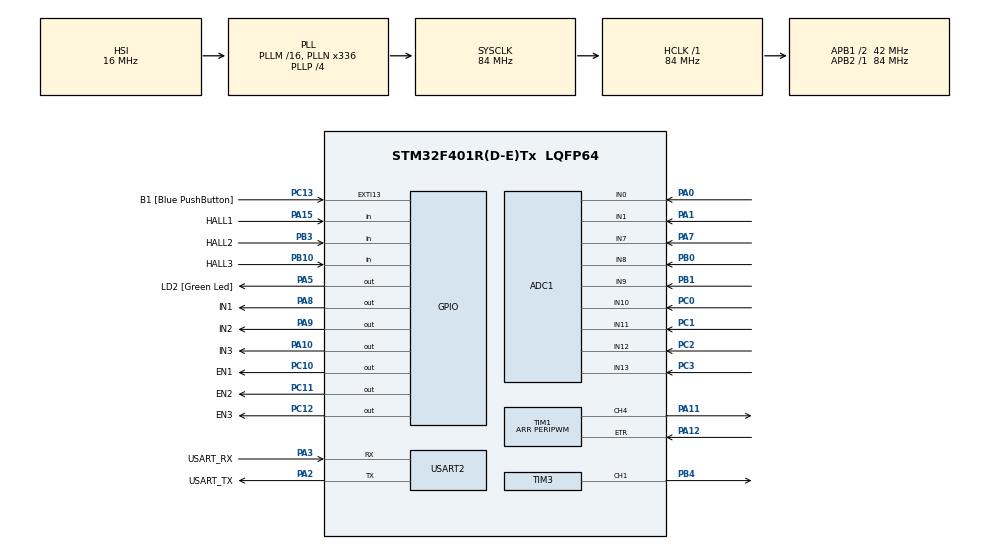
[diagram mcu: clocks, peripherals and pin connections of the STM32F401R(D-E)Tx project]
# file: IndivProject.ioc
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ADC1.Channel-0\#ChannelRegularConversion=ADC_CHANNEL_9
ADC1.DMAContinuousRequests=ENABLE
ADC1.DiscontinuousConvMode=DISABLE
ADC1.EOCSelection=ADC_EOC_SEQ_CONV
ADC1.ExternalTrigConv=ADC_EXTERNALTRIGCONV_T1_CC3
ADC1.ExternalTrigConvEdge=ADC_EXTERNALTRIGCONVEDGE_RISINGFALLING
ADC1.NbrOfConversionFlag=1
ADC1.Rank-0\#ChannelRegularConversion=1
ADC1.SamplingTime-0\#ChannelRegularConversion=ADC_SAMPLETIME_3CYCLES
ADC1.ScanConvMode=ENABLE
ADC1.master=1
Dma.ADC1.0.Direction=DMA_PERIPH_TO_MEMORY
Dma.ADC1.0.FIFOMode=DMA_FIFOMODE_DISABLE
Dma.ADC1.0.Instance=DMA2_Stream0
Dma.ADC1.0.MemDataAlignment=DMA_MDATAALIGN_HALFWORD
Dma.ADC1.0.MemInc=DMA_MINC_ENABLE
Dma.ADC1.0.Mode=DMA_CIRCULAR
Dma.ADC1.0.PeriphDataAlignment=DMA_PDATAALIGN_HALFWORD
Dma.ADC1.0.PeriphInc=DMA_PINC_DISABLE
Dma.ADC1.0.Priority=DMA_PRIORITY_LOW
Dma.Request0=ADC1
Mcu.Family=STM32F4
Mcu.Name=STM32F401R(D-E)Tx
Mcu.Package=LQFP64
Mcu.UserConstants=PERIPWM,2100
NVIC.DMA2_Stream0_IRQn=true\:0\:0\:false\:false\:true\:false\:true\:true
NVIC.PriorityGroup=NVIC_PRIORITYGROUP_4
PA0-WKUP.Signal=ADCx_IN0
PA1.Signal=ADCx_IN1
PA10.GPIO_Label=IN3
PA10.Signal=GPIO_Output
PA11.Signal=S_TIM1_CH4
PA12.Signal=S_TIM1_ETR
PA13.GPIO_Label=TMS
PA13.Signal=SYS_JTMS-SWDIO
PA14.GPIO_Label=TCK
PA14.Signal=SYS_JTCK-SWCLK
PA15.GPIO_Label=HALL1
PA15.Signal=GPIO_Input
PA2.GPIO_Label=USART_TX
PA2.GPIO_Mode=GPIO_MODE_AF_PP
PA2.GPIO_PuPd=GPIO_NOPULL
PA2.GPIO_Speed=GPIO_SPEED_FREQ_LOW
PA2.Mode=Asynchronous
PA2.Signal=USART2_TX
PA3.GPIO_Label=USART_RX
PA3.GPIO_Mode=GPIO_MODE_AF_PP
PA3.GPIO_PuPd=GPIO_NOPULL
PA3.GPIO_Speed=GPIO_SPEED_FREQ_LOW
PA3.Mode=Asynchronous
PA3.Signal=USART2_RX
PA5.GPIO_Label=LD2 [Green Led]
PA5.GPIO_Mode=GPIO_MODE_OUTPUT_PP
PA5.GPIO_PuPd=GPIO_NOPULL
PA5.GPIO_Speed=GPIO_SPEED_FREQ_LOW
PA5.Signal=GPIO_Output
PA7.Signal=ADCx_IN7
PA8.GPIO_Label=IN1
PA8.Signal=GPIO_Output
PA9.GPIO_Label=IN2
PA9.Signal=GPIO_Output
PB0.Signal=ADCx_IN8
PB1.Signal=ADCx_IN9
PB10.GPIO_Label=HALL3
PB10.Signal=GPIO_Input
PB13.Signal=TIM1_CH1N
PB14.Signal=TIM1_CH2N
PB3.GPIO_Label=HALL2
PB3.Signal=GPIO_Input
PB4.Signal=S_TIM3_CH1
PC0.Signal=ADCx_IN10
PC1.Signal=ADCx_IN11
PC10.GPIO_Label=EN1
PC10.Signal=GPIO_Output
PC11.GPIO_Label=EN2
PC11.Signal=GPIO_Output
PC12.GPIO_Label=EN3
PC12.Signal=GPIO_Output
PC13-ANTI_TAMP.GPIO_Label=B1 [Blue PushButton]
PC13-ANTI_TAMP.GPIO_ModeDefaultEXTI=GPIO_MODE_IT_FALLING
PC13-ANTI_TAMP.GPIO_PuPd=GPIO_NOPULL
PC13-ANTI_TAMP.Signal=GPXTI13
PC14-OSC32_IN.Mode=LSE-External-Oscillator
PC14-OSC32_IN.Signal=RCC_OSC32_IN
PC15-OSC32_OUT.Mode=LSE-External-Oscillator
PC15-OSC32_OUT.Signal=RCC_OSC32_OUT
PC2.Signal=ADCx_IN12
PC3.Signal=ADCx_IN13
PH0\ -\ OSC_IN.Mode=HSE-External-Clock-Source
PH0\ -\ OSC_IN.Signal=RCC_OSC_IN
PH1\ -\ OSC_OUT.Mode=HSE-External-Clock-Source
PH1\ -\ OSC_OUT.Signal=RCC_OSC_OUT
ProjectManager.HeapSize=0x200
ProjectManager.StackSize=0x400
ProjectManager.TargetToolchain=CMake
RCC.48MHZClocksFreq_Value=48000000
RCC.AHBFreq_Value=84000000
RCC.APB1CLKDivider=RCC_HCLK_DIV2
RCC.APB1Freq_Value=42000000
RCC.APB1TimFreq_Value=84000000
RCC.APB2Freq_Value=84000000
RCC.APB2TimFreq_Value=84000000
RCC.CortexFreq_Value=84000000
RCC.HCLKFreq_Value=84000000
RCC.HSE_VALUE=8000000
RCC.HSI_VALUE=16000000
RCC.PLLN=336
RCC.PLLP=RCC_PLLP_DIV4
RCC.PLLQ=7
RCC.SYSCLKFreq_VALUE=84000000
RCC.SYSCLKSource=RCC_SYSCLKSOURCE_PLLCLK
RCC.VCOOutputFreq_Value=336000000
SH.ADCx_IN0.0=ADC1_IN0,IN0
SH.ADCx_IN1.0=ADC1_IN1,IN1
SH.ADCx_IN10.0=ADC1_IN10,IN10
SH.ADCx_IN11.0=ADC1_IN11,IN11
SH.ADCx_IN12.0=ADC1_IN12,IN12
SH.ADCx_IN13.0=ADC1_IN13,IN13
SH.ADCx_IN7.0=ADC1_IN7,IN7
SH.ADCx_IN8.0=ADC1_IN8,IN8
SH.ADCx_IN9.0=ADC1_IN9,IN9
SH.S_TIM1_CH4.0=TIM1_CH4,PWM Generation4 CH4
SH.S_TIM1_ETR.0=TIM1_ETR,ETR-as-clearing-source
SH.S_TIM3_CH1.0=TIM3_CH1,PWM Generation1 CH1
TIM1.Channel-Output\ Compare3\ No\ Output=TIM_CHANNEL_3
TIM1.Channel-PWM\ Generation4\ CH4=TIM_CHANNEL_4
TIM1.ClearChannel4=TIM_CHANNEL_4
TIM1.CounterMode=TIM_COUNTERMODE_CENTERALIGNED1
TIM1.OCMode_3=TIM_OCMODE_TOGGLE
TIM1.Period=PERIPWM
TIM3.Channel-PWM\ Generation1\ CH1=TIM_CHANNEL_1
TIM3.CounterMode=TIM_COUNTERMODE_CENTERALIGNED1
TIM3.Period=PERIPWM
USART2.VirtualMode=VM_ASYNC
VP_TIM1_VS_ClockSourceINT.Mode=Internal
VP_TIM1_VS_no_output3.Mode=Output Compare3 No Output
VP_TIM3_VS_ClockSourceINT.Mode=Internal
board=NUCLEO-F401RE

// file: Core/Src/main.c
/* USER CODE BEGIN Header */
/**
  ******************************************************************************
  * @file           : main.c
  * @brief          : Main program body
  ******************************************************************************
  * @attention
  *
  * Copyright (c) 2026 STMicroelectronics.
  * All rights reserved.
  *
  * This software is licensed under terms that can be found in the LICENSE file
  * in the root directory of this software component.
  * If no LICENSE file comes with this software, it is provided AS-IS.
  *
  ******************************************************************************
  */
/* USER CODE END Header */
#include "main.h"

ADC_HandleTypeDef hadc1;
DMA_HandleTypeDef hdma_adc1;

TIM_HandleTypeDef htim1;
TIM_HandleTypeDef htim3;

UART_HandleTypeDef huart2;

void SystemClock_Config(void);
static void MX_GPIO_Init(void);
static void MX_DMA_Init(void);
static void MX_USART2_UART_Init(void);
static void MX_ADC1_Init(void);
static void MX_TIM1_Init(void);
static void MX_TIM3_Init(void);

/* USER CODE BEGIN 0 */
uint16_t resultats[1];
static const uint8_t enables[8] = {0,5,3,6,6,3,5,0};
static const uint8_t input[8] = {0,1,2,2,4,1,4,0};
/* USER CODE END 0 */

int main(void)
{

  /* MCU Configuration--------------------------------------------------------*/

  /* Reset of all peripherals, Initializes the Flash interface and the Systick. */

  HAL_Init();

  /* Configure the system clock */
  SystemClock_Config();

  /* Initialize all configured peripherals */
  MX_GPIO_Init();
  MX_DMA_Init();
  MX_USART2_UART_Init();
  MX_ADC1_Init();
  MX_TIM1_Init();
  MX_TIM3_Init();
  /* USER CODE BEGIN 2 */
  HAL_TIM_PWM_Start(&htim3, TIM_CHANNEL_1);
  HAL_TIM_PWM_Start(&htim1, TIM_CHANNEL_4);
  HAL_TIM_OC_Start(&htim1, TIM_CHANNEL_3);
  HAL_ADC_Start_DMA(&hadc1, (uint32_t*)resultats, 1);
  /* USER CODE END 2 */

  /* Infinite loop */
  while (1)
  {

  }
}

void SystemClock_Config(void)
{
  RCC_OscInitTypeDef RCC_OscInitStruct = {0};
  RCC_ClkInitTypeDef RCC_ClkInitStruct = {0};

  /** Configure the main internal regulator output voltage
  */
  __HAL_RCC_PWR_CLK_ENABLE();
  __HAL_PWR_VOLTAGESCALING_CONFIG(PWR_REGULATOR_VOLTAGE_SCALE2);

  /** Initializes the RCC Oscillators according to the specified parameters
  * in the RCC_OscInitTypeDef structure.
  */
  RCC_OscInitStruct.OscillatorType = RCC_OSCILLATORTYPE_HSI;
  RCC_OscInitStruct.HSIState = RCC_HSI_ON;
  RCC_OscInitStruct.HSICalibrationValue = RCC_HSICALIBRATION_DEFAULT;
  RCC_OscInitStruct.PLL.PLLState = RCC_PLL_ON;
  RCC_OscInitStruct.PLL.PLLSource = RCC_PLLSOURCE_HSI;
  RCC_OscInitStruct.PLL.PLLM = 16;
  RCC_OscInitStruct.PLL.PLLN = 336;
  RCC_OscInitStruct.PLL.PLLP = RCC_PLLP_DIV4;
  RCC_OscInitStruct.PLL.PLLQ = 7;
  if (HAL_RCC_OscConfig(&RCC_OscInitStruct) != HAL_OK)
  {
    Error_Handler();
  }

  /** Initializes the CPU, AHB and APB buses clocks
  */
  RCC_ClkInitStruct.ClockType = RCC_CLOCKTYPE_HCLK|RCC_CLOCKTYPE_SYSCLK
                              |RCC_CLOCKTYPE_PCLK1|RCC_CLOCKTYPE_PCLK2;
  RCC_ClkInitStruct.SYSCLKSource = RCC_SYSCLKSOURCE_PLLCLK;
  RCC_ClkInitStruct.AHBCLKDivider = RCC_SYSCLK_DIV1;
  RCC_ClkInitStruct.APB1CLKDivider = RCC_HCLK_DIV2;
  RCC_ClkInitStruct.APB2CLKDivider = RCC_HCLK_DIV1;

  if (HAL_RCC_ClockConfig(&RCC_ClkInitStruct, FLASH_LATENCY_2) != HAL_OK)
  {
    Error_Handler();
  }
}

static void MX_ADC1_Init(void)
{

  ADC_ChannelConfTypeDef sConfig = {0};

  /** Configure the global features of the ADC (Clock, Resolution, Data Alignment and number of conversion)
  */
  hadc1.Instance = ADC1;
  hadc1.Init.ClockPrescaler = ADC_CLOCK_SYNC_PCLK_DIV4;
  hadc1.Init.Resolution = ADC_RESOLUTION_12B;
  hadc1.Init.ScanConvMode = ENABLE;
  hadc1.Init.ContinuousConvMode = DISABLE;
  hadc1.Init.DiscontinuousConvMode = DISABLE;
  hadc1.Init.ExternalTrigConvEdge = ADC_EXTERNALTRIGCONVEDGE_RISINGFALLING;
  hadc1.Init.ExternalTrigConv = ADC_EXTERNALTRIGCONV_T1_CC3;
  hadc1.Init.DataAlign = ADC_DATAALIGN_RIGHT;
  hadc1.Init.NbrOfConversion = 1;
  hadc1.Init.DMAContinuousRequests = ENABLE;
  hadc1.Init.EOCSelection = ADC_EOC_SEQ_CONV;
  if (HAL_ADC_Init(&hadc1) != HAL_OK)
  {
    Error_Handler();
  }

  /** Configure for the selected ADC regular channel its corresponding rank in the sequencer and its sample time.
  */
  sConfig.Channel = ADC_CHANNEL_9;
  sConfig.Rank = 1;
  sConfig.SamplingTime = ADC_SAMPLETIME_3CYCLES;
  if (HAL_ADC_ConfigChannel(&hadc1, &sConfig) != HAL_OK)
  {
    Error_Handler();
  }

}

static void MX_TIM1_Init(void)
{

  TIM_ClockConfigTypeDef sClockSourceConfig = {0};
  TIM_MasterConfigTypeDef sMasterConfig = {0};
  TIM_OC_InitTypeDef sConfigOC = {0};
  TIM_ClearInputConfigTypeDef sClearInputConfig = {0};
  TIM_BreakDeadTimeConfigTypeDef sBreakDeadTimeConfig = {0};

  htim1.Instance = TIM1;
  htim1.Init.Prescaler = 0;
  htim1.Init.CounterMode = TIM_COUNTERMODE_CENTERALIGNED1;
  htim1.Init.Period = PERIPWM;
  htim1.Init.ClockDivision = TIM_CLOCKDIVISION_DIV1;
  htim1.Init.RepetitionCounter = 0;
  htim1.Init.AutoReloadPreload = TIM_AUTORELOAD_PRELOAD_DISABLE;
  if (HAL_TIM_Base_Init(&htim1) != HAL_OK)
  {
    Error_Handler();
  }
  sClockSourceConfig.ClockSource = TIM_CLOCKSOURCE_INTERNAL;
  if (HAL_TIM_ConfigClockSource(&htim1, &sClockSourceConfig) != HAL_OK)
  {
    Error_Handler();
  }
  if (HAL_TIM_OC_Init(&htim1) != HAL_OK)
  {
    Error_Handler();
  }
  if (HAL_TIM_PWM_Init(&htim1) != HAL_OK)
  {
    Error_Handler();
  }
  sMasterConfig.MasterOutputTrigger = TIM_TRGO_RESET;
  sMasterConfig.MasterSlaveMode = TIM_MASTERSLAVEMODE_DISABLE;
  if (HAL_TIMEx_MasterConfigSynchronization(&htim1, &sMasterConfig) != HAL_OK)
  {
    Error_Handler();
  }
  sConfigOC.OCMode = TIM_OCMODE_TOGGLE;
  sConfigOC.Pulse = 0;
  sConfigOC.OCPolarity = TIM_OCPOLARITY_HIGH;
  sConfigOC.OCNPolarity = TIM_OCNPOLARITY_HIGH;
  sConfigOC.OCFastMode = TIM_OCFAST_DISABLE;
  sConfigOC.OCIdleState = TIM_OCIDLESTATE_RESET;
  sConfigOC.OCNIdleState = TIM_OCNIDLESTATE_RESET;
  if (HAL_TIM_OC_ConfigChannel(&htim1, &sConfigOC, TIM_CHANNEL_3) != HAL_OK)
  {
    Error_Handler();
  }
  sConfigOC.OCMode = TIM_OCMODE_PWM1;
  if (HAL_TIM_PWM_ConfigChannel(&htim1, &sConfigOC, TIM_CHANNEL_4) != HAL_OK)
  {
    Error_Handler();
  }
  sClearInputConfig.ClearInputState = ENABLE;
  sClearInputConfig.ClearInputSource = TIM_CLEARINPUTSOURCE_ETR;
  sClearInputConfig.ClearInputPolarity = TIM_CLEARINPUTPOLARITY_NONINVERTED;
  sClearInputConfig.ClearInputPrescaler = TIM_CLEARINPUTPRESCALER_DIV1;
  sClearInputConfig.ClearInputFilter = 0;
  if (HAL_TIM_ConfigOCrefClear(&htim1, &sClearInputConfig, TIM_CHANNEL_4) != HAL_OK)
  {
    Error_Handler();
  }
  sBreakDeadTimeConfig.OffStateRunMode = TIM_OSSR_DISABLE;
  sBreakDeadTimeConfig.OffStateIDLEMode = TIM_OSSI_DISABLE;
  sBreakDeadTimeConfig.LockLevel = TIM_LOCKLEVEL_OFF;
  sBreakDeadTimeConfig.DeadTime = 0;
  sBreakDeadTimeConfig.BreakState = TIM_BREAK_DISABLE;
  sBreakDeadTimeConfig.BreakPolarity = TIM_BREAKPOLARITY_HIGH;
  sBreakDeadTimeConfig.AutomaticOutput = TIM_AUTOMATICOUTPUT_DISABLE;
  if (HAL_TIMEx_ConfigBreakDeadTime(&htim1, &sBreakDeadTimeConfig) != HAL_OK)
  {
    Error_Handler();
  }
  HAL_TIM_MspPostInit(&htim1);

}

static void MX_TIM3_Init(void)
{

  TIM_ClockConfigTypeDef sClockSourceConfig = {0};
  TIM_MasterConfigTypeDef sMasterConfig = {0};
  TIM_OC_InitTypeDef sConfigOC = {0};

  htim3.Instance = TIM3;
  htim3.Init.Prescaler = 0;
  htim3.Init.CounterMode = TIM_COUNTERMODE_CENTERALIGNED1;
  htim3.Init.Period = PERIPWM;
  htim3.Init.ClockDivision = TIM_CLOCKDIVISION_DIV1;
  htim3.Init.AutoReloadPreload = TIM_AUTORELOAD_PRELOAD_DISABLE;
  if (HAL_TIM_Base_Init(&htim3) != HAL_OK)
  {
    Error_Handler();
  }
  sClockSourceConfig.ClockSource = TIM_CLOCKSOURCE_INTERNAL;
  if (HAL_TIM_ConfigClockSource(&htim3, &sClockSourceConfig) != HAL_OK)
  {
    Error_Handler();
  }
  if (HAL_TIM_PWM_Init(&htim3) != HAL_OK)
  {
    Error_Handler();
  }
  sMasterConfig.MasterOutputTrigger = TIM_TRGO_RESET;
  sMasterConfig.MasterSlaveMode = TIM_MASTERSLAVEMODE_DISABLE;
  if (HAL_TIMEx_MasterConfigSynchronization(&htim3, &sMasterConfig) != HAL_OK)
  {
    Error_Handler();
  }
  sConfigOC.OCMode = TIM_OCMODE_PWM1;
  sConfigOC.Pulse = 0;
  sConfigOC.OCPolarity = TIM_OCPOLARITY_HIGH;
  sConfigOC.OCFastMode = TIM_OCFAST_DISABLE;
  if (HAL_TIM_PWM_ConfigChannel(&htim3, &sConfigOC, TIM_CHANNEL_1) != HAL_OK)
  {
    Error_Handler();
  }
  HAL_TIM_MspPostInit(&htim3);

}

static void MX_USART2_UART_Init(void)
{

  huart2.Instance = USART2;
  huart2.Init.BaudRate = 115200;
  huart2.Init.WordLength = UART_WORDLENGTH_8B;
  huart2.Init.StopBits = UART_STOPBITS_1;
  huart2.Init.Parity = UART_PARITY_NONE;
  huart2.Init.Mode = UART_MODE_TX_RX;
  huart2.Init.HwFlowCtl = UART_HWCONTROL_NONE;
  huart2.Init.OverSampling = UART_OVERSAMPLING_16;
  if (HAL_UART_Init(&huart2) != HAL_OK)
  {
    Error_Handler();
  }

}

static void MX_DMA_Init(void)
{

  /* DMA controller clock enable */
  __HAL_RCC_DMA2_CLK_ENABLE();

  /* DMA interrupt init */
  /* DMA2_Stream0_IRQn interrupt configuration */
  HAL_NVIC_SetPriority(DMA2_Stream0_IRQn, 0, 0);
  HAL_NVIC_EnableIRQ(DMA2_Stream0_IRQn);

}

static void MX_GPIO_Init(void)
{
  GPIO_InitTypeDef GPIO_InitStruct = {0};

  /* GPIO Ports Clock Enable */
  __HAL_RCC_GPIOC_CLK_ENABLE();
  __HAL_RCC_GPIOH_CLK_ENABLE();
  __HAL_RCC_GPIOA_CLK_ENABLE();
  __HAL_RCC_GPIOB_CLK_ENABLE();

  /*Configure GPIO pin Output Level */
  HAL_GPIO_WritePin(GPIOA, LD2_Pin|IN1_Pin|IN2_Pin|IN3_Pin, GPIO_PIN_RESET);

  /*Configure GPIO pin Output Level */
  HAL_GPIO_WritePin(GPIOC, EN1_Pin|EN2_Pin|EN3_Pin, GPIO_PIN_RESET);

  /*Configure GPIO pin : B1_Pin */
  GPIO_InitStruct.Pin = B1_Pin;
  GPIO_InitStruct.Mode = GPIO_MODE_IT_FALLING;
  GPIO_InitStruct.Pull = GPIO_NOPULL;
  HAL_GPIO_Init(B1_GPIO_Port, &GPIO_InitStruct);

  /*Configure GPIO pins : LD2_Pin IN1_Pin IN2_Pin IN3_Pin */
  GPIO_InitStruct.Pin = LD2_Pin|IN1_Pin|IN2_Pin|IN3_Pin;
  GPIO_InitStruct.Mode = GPIO_MODE_OUTPUT_PP;
  GPIO_InitStruct.Pull = GPIO_NOPULL;
  GPIO_InitStruct.Speed = GPIO_SPEED_FREQ_LOW;
  HAL_GPIO_Init(GPIOA, &GPIO_InitStruct);

  /*Configure GPIO pins : HALL3_Pin HALL2_Pin */
  GPIO_InitStruct.Pin = HALL3_Pin|HALL2_Pin;
  GPIO_InitStruct.Mode = GPIO_MODE_INPUT;
  GPIO_InitStruct.Pull = GPIO_NOPULL;
  HAL_GPIO_Init(GPIOB, &GPIO_InitStruct);

  /*Configure GPIO pin : HALL1_Pin */
  GPIO_InitStruct.Pin = HALL1_Pin;
  GPIO_InitStruct.Mode = GPIO_MODE_INPUT;
  GPIO_InitStruct.Pull = GPIO_NOPULL;
  HAL_GPIO_Init(HALL1_GPIO_Port, &GPIO_InitStruct);

  /*Configure GPIO pins : EN1_Pin EN2_Pin EN3_Pin */
  GPIO_InitStruct.Pin = EN1_Pin|EN2_Pin|EN3_Pin;
  GPIO_InitStruct.Mode = GPIO_MODE_OUTPUT_PP;
  GPIO_InitStruct.Pull = GPIO_NOPULL;
  GPIO_InitStruct.Speed = GPIO_SPEED_FREQ_LOW;
  HAL_GPIO_Init(GPIOC, &GPIO_InitStruct);

}

/* USER CODE BEGIN 4 */
void HAL_ADC_ConvCpltCallback(ADC_HandleTypeDef* AdcHandle)
{
  static int counter = 0;
  counter++;
  if (counter >= 20000) {
    HAL_GPIO_TogglePin(LD2_GPIO_Port, LD2_Pin);
    counter = 0;
  }

  uint8_t hall = (HAL_GPIO_ReadPin(HALL3_GPIO_Port,HALL3_Pin)<<2) +
      (HAL_GPIO_ReadPin(HALL2_GPIO_Port,HALL2_Pin)<<1) +
      (HAL_GPIO_ReadPin(HALL1_GPIO_Port,HALL1_Pin));

  HAL_GPIO_WritePin(EN1_GPIO_Port,EN1_Pin,(enables[hall])&1);
  HAL_GPIO_WritePin(EN2_GPIO_Port,EN2_Pin,(enables[hall]>>1)&1);
  HAL_GPIO_WritePin(EN3_GPIO_Port,EN3_Pin,(enables[hall]>>2)&1);

  uint16_t taux;
  // taux = (uint32_t) resultats[0] * PERIPWM >> 12;
  // TIM3->CCR1 = PERIPWM;
  // TIM1->CCR4 = taux;

  if (resultats[0] <= 2048) {
    taux = (uint32_t) (2048 - resultats[0]) * PERIPWM >> 11;

    TIM3->CCR1 = PERIPWM;
    TIM1->CCR4 = taux;
    HAL_GPIO_WritePin(IN1_GPIO_Port,IN1_Pin,(~input[hall])&1);
    HAL_GPIO_WritePin(IN2_GPIO_Port,IN2_Pin,(~input[hall]>>1)&1);
    HAL_GPIO_WritePin(IN3_GPIO_Port,IN3_Pin,(~input[hall]>>2)&1);
  } else {
    taux = (uint32_t) (resultats[0] - 2048) * PERIPWM >> 11;

    TIM3->CCR1 = PERIPWM;
    TIM1->CCR4 = taux;
    HAL_GPIO_WritePin(IN1_GPIO_Port,IN1_Pin,(input[hall])&1);
    HAL_GPIO_WritePin(IN2_GPIO_Port,IN2_Pin,(input[hall]>>1)&1);
    HAL_GPIO_WritePin(IN3_GPIO_Port,IN3_Pin,(input[hall]>>2)&1);
  }
}
/* USER CODE END 4 */

void Error_Handler(void)
{
  __disable_irq();
  while (1)
  {
  }
}
